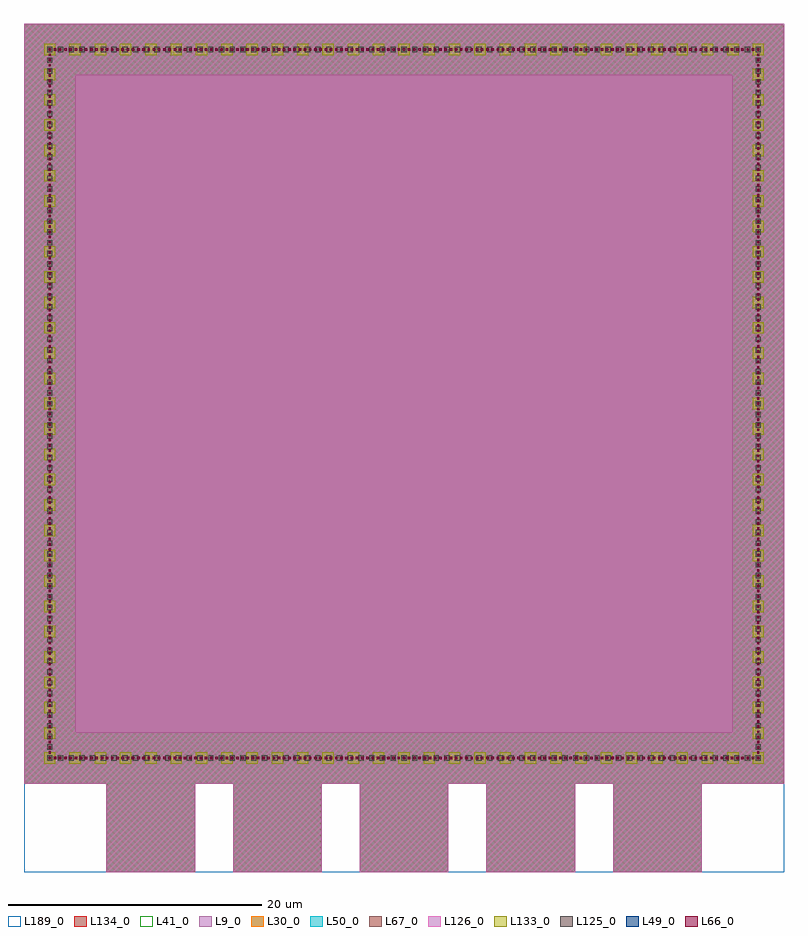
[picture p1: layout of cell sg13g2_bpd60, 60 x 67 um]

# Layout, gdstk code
import gdstk
lib = gdstk.Library(unit=1e-6, precision=1e-09)
def R(c, l, rs):  # rectangles x0, y0, x1, y1
    for r in rs: c.add(gdstk.rectangle(r[:2], r[2:], *l))
def A(c, l, x, y, w, h, nx, ny, dx, dy):  # array of equal rectangles
    R(c, l, [(x+i*dx, y+j*dy, x+i*dx+w, y+j*dy+h) for i in range(nx) for j in range(ny)])
def P(c, l, *ps):  # polygons
    for p in ps: c.add(gdstk.Polygon(p, *l))
L9_0 = (9, 0)
L30_0 = (30, 0)
L41_0 = (41, 0)
L49_0 = (49, 0)
L50_0 = (50, 0)
L66_0 = (66, 0)
L67_0 = (67, 0)
L125_0 = (125, 0)
L126_0 = (126, 0)
L133_0 = (133, 0)
L134_0 = (134, 0)
L189_0 = (189, 0)

bondpad_1 = lib.new_cell('bondpad$1')
R(bondpad_1, L9_0, [(-27.9,-27.9,27.9,27.9)])
P(bondpad_1, L30_0, [(-30,-30),(-30,30),(30,30),(30,-30),(-30,-30),(-25.93,-25.93),(25.93,-25.93),(25.93,25.93),(-25.93,25.93),(-25.93,-25.93)])
R(bondpad_1, L41_0, [(-30,-30,30,30)])
A(bondpad_1, L49_0, -28.06, -28.06, 0.19, 0.19, 4, 2, 0.41, 55.93)
A(bondpad_1, L49_0, -26.415, -28.06, 0.19, 0.19, 4, 2, 0.41, 55.93)
A(bondpad_1, L49_0, -24.77, -28.06, 0.19, 0.19, 4, 2, 0.41, 55.93)
A(bondpad_1, L49_0, -23.125, -28.06, 0.19, 0.19, 4, 2, 0.41, 55.93)
A(bondpad_1, L49_0, -21.48, -28.06, 0.19, 0.19, 4, 2, 0.41, 55.93)
A(bondpad_1, L49_0, -19.835, -28.06, 0.19, 0.19, 4, 2, 0.41, 55.93)
A(bondpad_1, L49_0, -18.19, -28.06, 0.19, 0.19, 4, 2, 0.41, 55.93)
A(bondpad_1, L49_0, -16.545, -28.06, 0.19, 0.19, 4, 2, 0.41, 55.93)
A(bondpad_1, L49_0, -14.9, -28.06, 0.19, 0.19, 4, 2, 0.41, 55.93)
A(bondpad_1, L49_0, -13.255, -28.06, 0.19, 0.19, 4, 2, 0.41, 55.93)
A(bondpad_1, L49_0, -11.61, -28.06, 0.19, 0.19, 4, 2, 0.41, 55.93)
A(bondpad_1, L49_0, -9.965, -28.06, 0.19, 0.19, 4, 2, 0.41, 55.93)
A(bondpad_1, L49_0, -8.32, -28.06, 0.19, 0.19, 4, 2, 0.41, 55.93)
A(bondpad_1, L49_0, -6.675, -28.06, 0.19, 0.19, 4, 2, 0.41, 55.93)
A(bondpad_1, L49_0, -5.03, -28.06, 0.19, 0.19, 4, 2, 0.41, 55.93)
A(bondpad_1, L49_0, -3.385, -28.06, 0.19, 0.19, 4, 2, 0.41, 55.93)
A(bondpad_1, L49_0, -1.74, -28.06, 0.19, 0.19, 4, 2, 0.41, 55.93)
A(bondpad_1, L49_0, -0.095, -28.06, 0.19, 0.19, 4, 2, 0.41, 55.93)
A(bondpad_1, L49_0, 1.55, -28.06, 0.19, 0.19, 4, 2, 0.41, 55.93)
A(bondpad_1, L49_0, 3.195, -28.06, 0.19, 0.19, 4, 2, 0.41, 55.93)
A(bondpad_1, L49_0, 4.84, -28.06, 0.19, 0.19, 4, 2, 0.41, 55.93)
A(bondpad_1, L49_0, 6.485, -28.06, 0.19, 0.19, 4, 2, 0.41, 55.93)
A(bondpad_1, L49_0, 8.13, -28.06, 0.19, 0.19, 4, 2, 0.41, 55.93)
A(bondpad_1, L49_0, 9.775, -28.06, 0.19, 0.19, 4, 2, 0.41, 55.93)
A(bondpad_1, L49_0, 11.42, -28.06, 0.19, 0.19, 4, 2, 0.41, 55.93)
A(bondpad_1, L49_0, 13.065, -28.06, 0.19, 0.19, 4, 2, 0.41, 55.93)
A(bondpad_1, L49_0, 14.71, -28.06, 0.19, 0.19, 4, 2, 0.41, 55.93)
A(bondpad_1, L49_0, 16.355, -28.06, 0.19, 0.19, 4, 2, 0.41, 55.93)
A(bondpad_1, L49_0, 18, -28.06, 0.19, 0.19, 4, 2, 0.41, 55.93)
A(bondpad_1, L49_0, 19.645, -28.06, 0.19, 0.19, 4, 2, 0.41, 55.93)
A(bondpad_1, L49_0, 21.29, -28.06, 0.19, 0.19, 4, 2, 0.41, 55.93)
A(bondpad_1, L49_0, 22.935, -28.06, 0.19, 0.19, 4, 2, 0.41, 55.93)
A(bondpad_1, L49_0, 24.58, -28.06, 0.19, 0.19, 4, 2, 0.41, 55.93)
A(bondpad_1, L49_0, 26.225, -28.06, 0.19, 0.19, 4, 2, 0.41, 55.93)
A(bondpad_1, L49_0, -28.06, -27.64, 0.19, 0.19, 1, 5, 0, 0.41)
A(bondpad_1, L49_0, 27.87, -27.64, 0.19, 0.19, 1, 5, 0, 0.41)
A(bondpad_1, L49_0, -28.06, -25.585, 0.19, 0.19, 1, 4, 0, 0.41)
A(bondpad_1, L49_0, 27.87, -25.585, 0.19, 0.19, 1, 4, 0, 0.41)
A(bondpad_1, L49_0, -28.06, -23.94, 0.19, 0.19, 1, 5, 0, 0.41)
A(bondpad_1, L49_0, 27.87, -23.94, 0.19, 0.19, 1, 5, 0, 0.41)
A(bondpad_1, L49_0, -28.06, -21.885, 0.19, 0.19, 1, 4, 0, 0.41)
A(bondpad_1, L49_0, 27.87, -21.885, 0.19, 0.19, 1, 4, 0, 0.41)
A(bondpad_1, L49_0, -28.06, -20.24, 0.19, 0.19, 1, 5, 0, 0.41)
A(bondpad_1, L49_0, 27.87, -20.24, 0.19, 0.19, 1, 5, 0, 0.41)
A(bondpad_1, L49_0, -28.06, -18.185, 0.19, 0.19, 1, 4, 0, 0.41)
A(bondpad_1, L49_0, 27.87, -18.185, 0.19, 0.19, 1, 4, 0, 0.41)
A(bondpad_1, L49_0, -28.06, -16.54, 0.19, 0.19, 1, 5, 0, 0.41)
A(bondpad_1, L49_0, 27.87, -16.54, 0.19, 0.19, 1, 5, 0, 0.41)
A(bondpad_1, L49_0, -28.06, -14.485, 0.19, 0.19, 1, 4, 0, 0.41)
A(bondpad_1, L49_0, 27.87, -14.485, 0.19, 0.19, 1, 4, 0, 0.41)
A(bondpad_1, L49_0, -28.06, -12.84, 0.19, 0.19, 1, 5, 0, 0.41)
A(bondpad_1, L49_0, 27.87, -12.84, 0.19, 0.19, 1, 5, 0, 0.41)
A(bondpad_1, L49_0, -28.06, -10.785, 0.19, 0.19, 1, 4, 0, 0.41)
A(bondpad_1, L49_0, 27.87, -10.785, 0.19, 0.19, 1, 4, 0, 0.41)
A(bondpad_1, L49_0, -28.06, -9.14, 0.19, 0.19, 1, 5, 0, 0.41)
A(bondpad_1, L49_0, 27.87, -9.14, 0.19, 0.19, 1, 5, 0, 0.41)
A(bondpad_1, L49_0, -28.06, -7.085, 0.19, 0.19, 1, 4, 0, 0.41)
A(bondpad_1, L49_0, 27.87, -7.085, 0.19, 0.19, 1, 4, 0, 0.41)
A(bondpad_1, L49_0, -28.06, -5.44, 0.19, 0.19, 1, 5, 0, 0.41)
A(bondpad_1, L49_0, 27.87, -5.44, 0.19, 0.19, 1, 5, 0, 0.41)
A(bondpad_1, L49_0, -28.06, -3.385, 0.19, 0.19, 1, 4, 0, 0.41)
A(bondpad_1, L49_0, 27.87, -3.385, 0.19, 0.19, 1, 4, 0, 0.41)
A(bondpad_1, L49_0, -28.06, -1.74, 0.19, 0.19, 1, 4, 0, 0.41)
A(bondpad_1, L49_0, 27.87, -1.74, 0.19, 0.19, 1, 4, 0, 0.41)
A(bondpad_1, L49_0, -28.06, -0.095, 0.19, 0.19, 1, 5, 0, 0.41)
A(bondpad_1, L49_0, 27.87, -0.095, 0.19, 0.19, 1, 5, 0, 0.41)
A(bondpad_1, L49_0, -28.06, 1.96, 0.19, 0.19, 1, 4, 0, 0.41)
A(bondpad_1, L49_0, 27.87, 1.96, 0.19, 0.19, 1, 4, 0, 0.41)
A(bondpad_1, L49_0, -28.06, 3.605, 0.19, 0.19, 1, 5, 0, 0.41)
A(bondpad_1, L49_0, 27.87, 3.605, 0.19, 0.19, 1, 5, 0, 0.41)
A(bondpad_1, L49_0, -28.06, 5.66, 0.19, 0.19, 1, 4, 0, 0.41)
A(bondpad_1, L49_0, 27.87, 5.66, 0.19, 0.19, 1, 4, 0, 0.41)
A(bondpad_1, L49_0, -28.06, 7.305, 0.19, 0.19, 1, 5, 0, 0.41)
A(bondpad_1, L49_0, 27.87, 7.305, 0.19, 0.19, 1, 5, 0, 0.41)
A(bondpad_1, L49_0, -28.06, 9.36, 0.19, 0.19, 1, 4, 0, 0.41)
A(bondpad_1, L49_0, 27.87, 9.36, 0.19, 0.19, 1, 4, 0, 0.41)
A(bondpad_1, L49_0, -28.06, 11.005, 0.19, 0.19, 1, 5, 0, 0.41)
A(bondpad_1, L49_0, 27.87, 11.005, 0.19, 0.19, 1, 5, 0, 0.41)
A(bondpad_1, L49_0, -28.06, 13.06, 0.19, 0.19, 1, 4, 0, 0.41)
A(bondpad_1, L49_0, 27.87, 13.06, 0.19, 0.19, 1, 4, 0, 0.41)
A(bondpad_1, L49_0, -28.06, 14.705, 0.19, 0.19, 1, 5, 0, 0.41)
A(bondpad_1, L49_0, 27.87, 14.705, 0.19, 0.19, 1, 5, 0, 0.41)
A(bondpad_1, L49_0, -28.06, 16.76, 0.19, 0.19, 1, 4, 0, 0.41)
A(bondpad_1, L49_0, 27.87, 16.76, 0.19, 0.19, 1, 4, 0, 0.41)
A(bondpad_1, L49_0, -28.06, 18.405, 0.19, 0.19, 1, 5, 0, 0.41)
A(bondpad_1, L49_0, 27.87, 18.405, 0.19, 0.19, 1, 5, 0, 0.41)
A(bondpad_1, L49_0, -28.06, 20.46, 0.19, 0.19, 1, 4, 0, 0.41)
A(bondpad_1, L49_0, 27.87, 20.46, 0.19, 0.19, 1, 4, 0, 0.41)
A(bondpad_1, L49_0, -28.06, 22.105, 0.19, 0.19, 1, 5, 0, 0.41)
A(bondpad_1, L49_0, 27.87, 22.105, 0.19, 0.19, 1, 5, 0, 0.41)
A(bondpad_1, L49_0, -28.06, 24.16, 0.19, 0.19, 1, 4, 0, 0.41)
A(bondpad_1, L49_0, 27.87, 24.16, 0.19, 0.19, 1, 4, 0, 0.41)
A(bondpad_1, L49_0, -28.06, 25.805, 0.19, 0.19, 1, 4, 0, 0.41)
A(bondpad_1, L49_0, 27.87, 25.805, 0.19, 0.19, 1, 4, 0, 0.41)
R(bondpad_1, L49_0, [(27.87,-28.06,28.06,-27.87), (-28.06,27.45,-27.87,27.64), (27.87,27.45,28.06,27.64), (27.87,27.87,28.06,28.06)])
P(bondpad_1, L50_0, [(-30,-30),(-30,30),(30,30),(30,-30),(-30,-30),(-25.93,-25.93),(25.93,-25.93),(25.93,25.93),(-25.93,25.93),(-25.93,-25.93)])
A(bondpad_1, L66_0, -28.06, -28.06, 0.19, 0.19, 4, 2, 0.41, 55.93)
A(bondpad_1, L66_0, -26.415, -28.06, 0.19, 0.19, 4, 2, 0.41, 55.93)
A(bondpad_1, L66_0, -24.77, -28.06, 0.19, 0.19, 4, 2, 0.41, 55.93)
A(bondpad_1, L66_0, -23.125, -28.06, 0.19, 0.19, 4, 2, 0.41, 55.93)
A(bondpad_1, L66_0, -21.48, -28.06, 0.19, 0.19, 4, 2, 0.41, 55.93)
A(bondpad_1, L66_0, -19.835, -28.06, 0.19, 0.19, 4, 2, 0.41, 55.93)
A(bondpad_1, L66_0, -18.19, -28.06, 0.19, 0.19, 4, 2, 0.41, 55.93)
A(bondpad_1, L66_0, -16.545, -28.06, 0.19, 0.19, 4, 2, 0.41, 55.93)
A(bondpad_1, L66_0, -14.9, -28.06, 0.19, 0.19, 4, 2, 0.41, 55.93)
A(bondpad_1, L66_0, -13.255, -28.06, 0.19, 0.19, 4, 2, 0.41, 55.93)
A(bondpad_1, L66_0, -11.61, -28.06, 0.19, 0.19, 4, 2, 0.41, 55.93)
A(bondpad_1, L66_0, -9.965, -28.06, 0.19, 0.19, 4, 2, 0.41, 55.93)
A(bondpad_1, L66_0, -8.32, -28.06, 0.19, 0.19, 4, 2, 0.41, 55.93)
A(bondpad_1, L66_0, -6.675, -28.06, 0.19, 0.19, 4, 2, 0.41, 55.93)
A(bondpad_1, L66_0, -5.03, -28.06, 0.19, 0.19, 4, 2, 0.41, 55.93)
A(bondpad_1, L66_0, -3.385, -28.06, 0.19, 0.19, 4, 2, 0.41, 55.93)
A(bondpad_1, L66_0, -1.74, -28.06, 0.19, 0.19, 4, 2, 0.41, 55.93)
A(bondpad_1, L66_0, -0.095, -28.06, 0.19, 0.19, 4, 2, 0.41, 55.93)
A(bondpad_1, L66_0, 1.55, -28.06, 0.19, 0.19, 4, 2, 0.41, 55.93)
A(bondpad_1, L66_0, 3.195, -28.06, 0.19, 0.19, 4, 2, 0.41, 55.93)
A(bondpad_1, L66_0, 4.84, -28.06, 0.19, 0.19, 4, 2, 0.41, 55.93)
A(bondpad_1, L66_0, 6.485, -28.06, 0.19, 0.19, 4, 2, 0.41, 55.93)
A(bondpad_1, L66_0, 8.13, -28.06, 0.19, 0.19, 4, 2, 0.41, 55.93)
A(bondpad_1, L66_0, 9.775, -28.06, 0.19, 0.19, 4, 2, 0.41, 55.93)
A(bondpad_1, L66_0, 11.42, -28.06, 0.19, 0.19, 4, 2, 0.41, 55.93)
A(bondpad_1, L66_0, 13.065, -28.06, 0.19, 0.19, 4, 2, 0.41, 55.93)
A(bondpad_1, L66_0, 14.71, -28.06, 0.19, 0.19, 4, 2, 0.41, 55.93)
A(bondpad_1, L66_0, 16.355, -28.06, 0.19, 0.19, 4, 2, 0.41, 55.93)
A(bondpad_1, L66_0, 18, -28.06, 0.19, 0.19, 4, 2, 0.41, 55.93)
A(bondpad_1, L66_0, 19.645, -28.06, 0.19, 0.19, 4, 2, 0.41, 55.93)
A(bondpad_1, L66_0, 21.29, -28.06, 0.19, 0.19, 4, 2, 0.41, 55.93)
A(bondpad_1, L66_0, 22.935, -28.06, 0.19, 0.19, 4, 2, 0.41, 55.93)
A(bondpad_1, L66_0, 24.58, -28.06, 0.19, 0.19, 4, 2, 0.41, 55.93)
A(bondpad_1, L66_0, 26.225, -28.06, 0.19, 0.19, 4, 2, 0.41, 55.93)
A(bondpad_1, L66_0, -28.06, -27.64, 0.19, 0.19, 1, 5, 0, 0.41)
A(bondpad_1, L66_0, 27.87, -27.64, 0.19, 0.19, 1, 5, 0, 0.41)
A(bondpad_1, L66_0, -28.06, -25.585, 0.19, 0.19, 1, 4, 0, 0.41)
A(bondpad_1, L66_0, 27.87, -25.585, 0.19, 0.19, 1, 4, 0, 0.41)
A(bondpad_1, L66_0, -28.06, -23.94, 0.19, 0.19, 1, 5, 0, 0.41)
A(bondpad_1, L66_0, 27.87, -23.94, 0.19, 0.19, 1, 5, 0, 0.41)
A(bondpad_1, L66_0, -28.06, -21.885, 0.19, 0.19, 1, 4, 0, 0.41)
A(bondpad_1, L66_0, 27.87, -21.885, 0.19, 0.19, 1, 4, 0, 0.41)
A(bondpad_1, L66_0, -28.06, -20.24, 0.19, 0.19, 1, 5, 0, 0.41)
A(bondpad_1, L66_0, 27.87, -20.24, 0.19, 0.19, 1, 5, 0, 0.41)
A(bondpad_1, L66_0, -28.06, -18.185, 0.19, 0.19, 1, 4, 0, 0.41)
A(bondpad_1, L66_0, 27.87, -18.185, 0.19, 0.19, 1, 4, 0, 0.41)
A(bondpad_1, L66_0, -28.06, -16.54, 0.19, 0.19, 1, 5, 0, 0.41)
A(bondpad_1, L66_0, 27.87, -16.54, 0.19, 0.19, 1, 5, 0, 0.41)
A(bondpad_1, L66_0, -28.06, -14.485, 0.19, 0.19, 1, 4, 0, 0.41)
A(bondpad_1, L66_0, 27.87, -14.485, 0.19, 0.19, 1, 4, 0, 0.41)
A(bondpad_1, L66_0, -28.06, -12.84, 0.19, 0.19, 1, 5, 0, 0.41)
A(bondpad_1, L66_0, 27.87, -12.84, 0.19, 0.19, 1, 5, 0, 0.41)
A(bondpad_1, L66_0, -28.06, -10.785, 0.19, 0.19, 1, 4, 0, 0.41)
A(bondpad_1, L66_0, 27.87, -10.785, 0.19, 0.19, 1, 4, 0, 0.41)
A(bondpad_1, L66_0, -28.06, -9.14, 0.19, 0.19, 1, 5, 0, 0.41)
A(bondpad_1, L66_0, 27.87, -9.14, 0.19, 0.19, 1, 5, 0, 0.41)
A(bondpad_1, L66_0, -28.06, -7.085, 0.19, 0.19, 1, 4, 0, 0.41)
A(bondpad_1, L66_0, 27.87, -7.085, 0.19, 0.19, 1, 4, 0, 0.41)
A(bondpad_1, L66_0, -28.06, -5.44, 0.19, 0.19, 1, 5, 0, 0.41)
A(bondpad_1, L66_0, 27.87, -5.44, 0.19, 0.19, 1, 5, 0, 0.41)
A(bondpad_1, L66_0, -28.06, -3.385, 0.19, 0.19, 1, 4, 0, 0.41)
A(bondpad_1, L66_0, 27.87, -3.385, 0.19, 0.19, 1, 4, 0, 0.41)
A(bondpad_1, L66_0, -28.06, -1.74, 0.19, 0.19, 1, 4, 0, 0.41)
A(bondpad_1, L66_0, 27.87, -1.74, 0.19, 0.19, 1, 4, 0, 0.41)
A(bondpad_1, L66_0, -28.06, -0.095, 0.19, 0.19, 1, 5, 0, 0.41)
A(bondpad_1, L66_0, 27.87, -0.095, 0.19, 0.19, 1, 5, 0, 0.41)
A(bondpad_1, L66_0, -28.06, 1.96, 0.19, 0.19, 1, 4, 0, 0.41)
A(bondpad_1, L66_0, 27.87, 1.96, 0.19, 0.19, 1, 4, 0, 0.41)
A(bondpad_1, L66_0, -28.06, 3.605, 0.19, 0.19, 1, 5, 0, 0.41)
A(bondpad_1, L66_0, 27.87, 3.605, 0.19, 0.19, 1, 5, 0, 0.41)
A(bondpad_1, L66_0, -28.06, 5.66, 0.19, 0.19, 1, 4, 0, 0.41)
A(bondpad_1, L66_0, 27.87, 5.66, 0.19, 0.19, 1, 4, 0, 0.41)
A(bondpad_1, L66_0, -28.06, 7.305, 0.19, 0.19, 1, 5, 0, 0.41)
A(bondpad_1, L66_0, 27.87, 7.305, 0.19, 0.19, 1, 5, 0, 0.41)
A(bondpad_1, L66_0, -28.06, 9.36, 0.19, 0.19, 1, 4, 0, 0.41)
A(bondpad_1, L66_0, 27.87, 9.36, 0.19, 0.19, 1, 4, 0, 0.41)
A(bondpad_1, L66_0, -28.06, 11.005, 0.19, 0.19, 1, 5, 0, 0.41)
A(bondpad_1, L66_0, 27.87, 11.005, 0.19, 0.19, 1, 5, 0, 0.41)
A(bondpad_1, L66_0, -28.06, 13.06, 0.19, 0.19, 1, 4, 0, 0.41)
A(bondpad_1, L66_0, 27.87, 13.06, 0.19, 0.19, 1, 4, 0, 0.41)
A(bondpad_1, L66_0, -28.06, 14.705, 0.19, 0.19, 1, 5, 0, 0.41)
A(bondpad_1, L66_0, 27.87, 14.705, 0.19, 0.19, 1, 5, 0, 0.41)
A(bondpad_1, L66_0, -28.06, 16.76, 0.19, 0.19, 1, 4, 0, 0.41)
A(bondpad_1, L66_0, 27.87, 16.76, 0.19, 0.19, 1, 4, 0, 0.41)
A(bondpad_1, L66_0, -28.06, 18.405, 0.19, 0.19, 1, 5, 0, 0.41)
A(bondpad_1, L66_0, 27.87, 18.405, 0.19, 0.19, 1, 5, 0, 0.41)
A(bondpad_1, L66_0, -28.06, 20.46, 0.19, 0.19, 1, 4, 0, 0.41)
A(bondpad_1, L66_0, 27.87, 20.46, 0.19, 0.19, 1, 4, 0, 0.41)
A(bondpad_1, L66_0, -28.06, 22.105, 0.19, 0.19, 1, 5, 0, 0.41)
A(bondpad_1, L66_0, 27.87, 22.105, 0.19, 0.19, 1, 5, 0, 0.41)
A(bondpad_1, L66_0, -28.06, 24.16, 0.19, 0.19, 1, 4, 0, 0.41)
A(bondpad_1, L66_0, 27.87, 24.16, 0.19, 0.19, 1, 4, 0, 0.41)
A(bondpad_1, L66_0, -28.06, 25.805, 0.19, 0.19, 1, 4, 0, 0.41)
A(bondpad_1, L66_0, 27.87, 25.805, 0.19, 0.19, 1, 4, 0, 0.41)
R(bondpad_1, L66_0, [(27.87,-28.06,28.06,-27.87), (-28.06,27.45,-27.87,27.64), (27.87,27.45,28.06,27.64), (27.87,27.87,28.06,28.06)])
P(bondpad_1, L67_0, [(-30,-30),(-30,30),(30,30),(30,-30),(-30,-30),(-25.93,-25.93),(25.93,-25.93),(25.93,25.93),(-25.93,25.93),(-25.93,-25.93)])
A(bondpad_1, L125_0, -28.175, -28.175, 0.42, 0.42, 3, 2, 0.845, 55.93)
A(bondpad_1, L125_0, -0.21, -28.175, 0.42, 0.42, 3, 2, 0.845, 55.93)
A(bondpad_1, L125_0, -28.175, -27.325, 0.42, 0.42, 1, 3, 0, 0.845)
A(bondpad_1, L125_0, 27.755, -27.325, 0.42, 0.42, 1, 3, 0, 0.845)
A(bondpad_1, L125_0, -28.175, -14.615, 0.42, 0.42, 1, 3, 0, 0.845)
A(bondpad_1, L125_0, 27.755, -14.615, 0.42, 0.42, 1, 3, 0, 0.845)
A(bondpad_1, L125_0, -28.175, -0.21, 0.42, 0.42, 1, 3, 0, 0.845)
A(bondpad_1, L125_0, 27.755, -0.21, 0.42, 0.42, 1, 3, 0, 0.845)
A(bondpad_1, L125_0, -28.175, 12.5, 0.42, 0.42, 1, 3, 0, 0.845)
A(bondpad_1, L125_0, 27.755, 12.5, 0.42, 0.42, 1, 3, 0, 0.845)
A(bondpad_1, L125_0, 27.755, 26.055, 0.42, 0.42, 1, 3, 0, 0.85)
R(bondpad_1, L125_0, [(-25.635,-28.175,-25.215,-27.755), (-24.79,-28.175,-24.37,-27.755), (-23.94,-28.175,-23.52,-27.755), (-23.095,-28.175,-22.675,-27.755), (-22.245,-28.175,-21.825,-27.755), (-21.4,-28.175,-20.98,-27.755), (-20.55,-28.175,-20.13,-27.755), (-19.705,-28.175,-19.285,-27.755), (-18.855,-28.175,-18.435,-27.755), (-18.01,-28.175,-17.59,-27.755), (-17.16,-28.175,-16.74,-27.755), (-16.315,-28.175,-15.895,-27.755), (-15.465,-28.175,-15.045,-27.755), (-14.62,-28.175,-14.2,-27.755), (-13.77,-28.175,-13.35,-27.755), (-12.925,-28.175,-12.505,-27.755), (-12.075,-28.175,-11.655,-27.755), (-11.23,-28.175,-10.81,-27.755), (-10.38,-28.175,-9.96,-27.755), (-9.535,-28.175,-9.115,-27.755), (-8.685,-28.175,-8.265,-27.755), (-7.84,-28.175,-7.42,-27.755), (-6.99,-28.175,-6.57,-27.755), (-6.145,-28.175,-5.725,-27.755), (-5.295,-28.175,-4.875,-27.755), (-4.45,-28.175,-4.03,-27.755), (-3.6,-28.175,-3.18,-27.755), (-2.755,-28.175,-2.335,-27.755), (-1.905,-28.175,-1.485,-27.755), (-1.06,-28.175,-0.64,-27.755), (2.33,-28.175,2.75,-27.755), (3.175,-28.175,3.595,-27.755), (4.025,-28.175,4.445,-27.755), (4.87,-28.175,5.29,-27.755), (5.72,-28.175,6.14,-27.755), (6.565,-28.175,6.985,-27.755), (7.415,-28.175,7.835,-27.755), (8.26,-28.175,8.68,-27.755), (9.11,-28.175,9.53,-27.755), (9.955,-28.175,10.375,-27.755), (10.805,-28.175,11.225,-27.755), (11.65,-28.175,12.07,-27.755), (12.5,-28.175,12.92,-27.755), (13.345,-28.175,13.765,-27.755), (14.195,-28.175,14.615,-27.755), (15.04,-28.175,15.46,-27.755), (15.89,-28.175,16.31,-27.755), (16.735,-28.175,17.155,-27.755), (17.585,-28.175,18.005,-27.755), (18.43,-28.175,18.85,-27.755), (19.28,-28.175,19.7,-27.755), (20.125,-28.175,20.545,-27.755), (20.975,-28.175,21.395,-27.755), (21.82,-28.175,22.24,-27.755), (22.67,-28.175,23.09,-27.755), (23.515,-28.175,23.935,-27.755), (24.365,-28.175,24.785,-27.755), (25.21,-28.175,25.63,-27.755), (26.06,-28.175,26.48,-27.755), (26.905,-28.175,27.325,-27.755), (27.755,-28.175,28.175,-27.755), (-28.175,-24.785,-27.755,-24.365), (27.755,-24.785,28.175,-24.365), (-28.175,-23.94,-27.755,-23.52), (27.755,-23.94,28.175,-23.52), (-28.175,-23.09,-27.755,-22.67), (27.755,-23.09,28.175,-22.67), (-28.175,-22.245,-27.755,-21.825), (27.755,-22.245,28.175,-21.825), (-28.175,-21.395,-27.755,-20.975), (27.755,-21.395,28.175,-20.975), (-28.175,-20.55,-27.755,-20.13), (27.755,-20.55,28.175,-20.13), (-28.175,-19.7,-27.755,-19.28), (27.755,-19.7,28.175,-19.28), (-28.175,-18.855,-27.755,-18.435), (27.755,-18.855,28.175,-18.435), (-28.175,-18.005,-27.755,-17.585), (27.755,-18.005,28.175,-17.585), (-28.175,-17.16,-27.755,-16.74), (27.755,-17.16,28.175,-16.74), (-28.175,-16.31,-27.755,-15.89), (27.755,-16.31,28.175,-15.89), (-28.175,-15.465,-27.755,-15.045), (27.755,-15.465,28.175,-15.045), (-28.175,-12.075,-27.755,-11.655), (27.755,-12.075,28.175,-11.655), (-28.175,-11.23,-27.755,-10.81), (27.755,-11.23,28.175,-10.81), (-28.175,-10.38,-27.755,-9.96), (27.755,-10.38,28.175,-9.96), (-28.175,-9.535,-27.755,-9.115), (27.755,-9.535,28.175,-9.115), (-28.175,-8.685,-27.755,-8.265), (27.755,-8.685,28.175,-8.265), (-28.175,-7.84,-27.755,-7.42), (27.755,-7.84,28.175,-7.42), (-28.175,-6.99,-27.755,-6.57), (27.755,-6.99,28.175,-6.57), (-28.175,-6.145,-27.755,-5.725), (27.755,-6.145,28.175,-5.725), (-28.175,-5.295,-27.755,-4.875), (27.755,-5.295,28.175,-4.875), (-28.175,-4.45,-27.755,-4.03), (27.755,-4.45,28.175,-4.03), (-28.175,-3.6,-27.755,-3.18), (27.755,-3.6,28.175,-3.18), (-28.175,-2.755,-27.755,-2.335), (27.755,-2.755,28.175,-2.335), (-28.175,-1.905,-27.755,-1.485), (27.755,-1.905,28.175,-1.485), (-28.175,-1.06,-27.755,-0.64), (27.755,-1.06,28.175,-0.64), (-28.175,2.33,-27.755,2.75), (27.755,2.33,28.175,2.75), (-28.175,3.175,-27.755,3.595), (27.755,3.175,28.175,3.595), (-28.175,4.025,-27.755,4.445), (27.755,4.025,28.175,4.445), (-28.175,4.87,-27.755,5.29), (27.755,4.87,28.175,5.29), (-28.175,5.72,-27.755,6.14), (27.755,5.72,28.175,6.14), (-28.175,6.565,-27.755,6.985), (27.755,6.565,28.175,6.985), (-28.175,7.415,-27.755,7.835), (27.755,7.415,28.175,7.835), (-28.175,8.26,-27.755,8.68), (27.755,8.26,28.175,8.68), (-28.175,9.11,-27.755,9.53), (27.755,9.11,28.175,9.53), (-28.175,9.955,-27.755,10.375), (27.755,9.955,28.175,10.375), (-28.175,10.805,-27.755,11.225), (27.755,10.805,28.175,11.225), (-28.175,11.65,-27.755,12.07), (27.755,11.65,28.175,12.07), (-28.175,15.04,-27.755,15.46), (27.755,15.04,28.175,15.46), (-28.175,15.885,-27.755,16.305), (27.755,15.885,28.175,16.305), (-28.175,16.735,-27.755,17.155), (27.755,16.735,28.175,17.155), (-28.175,17.58,-27.755,18), (27.755,17.58,28.175,18), (-28.175,18.43,-27.755,18.85), (27.755,18.43,28.175,18.85), (-28.175,19.275,-27.755,19.695), (27.755,19.275,28.175,19.695), (-28.175,20.125,-27.755,20.545), (27.755,20.125,28.175,20.545), (-28.175,20.97,-27.755,21.39), (27.755,20.97,28.175,21.39), (-28.175,21.82,-27.755,22.24), (27.755,21.82,28.175,22.24), (-28.175,22.665,-27.755,23.085), (27.755,22.665,28.175,23.085), (-28.175,23.515,-27.755,23.935), (27.755,23.515,28.175,23.935), (-28.175,24.36,-27.755,24.78), (27.755,24.36,28.175,24.78), (-28.175,25.21,-27.755,25.63), (27.755,25.21,28.175,25.63), (-28.175,26.055,-27.755,26.475), (-28.175,26.905,-27.755,27.325), (-25.635,27.755,-25.215,28.175), (-24.79,27.755,-24.37,28.175), (-23.94,27.755,-23.52,28.175), (-23.095,27.755,-22.675,28.175), (-22.245,27.755,-21.825,28.175), (-21.4,27.755,-20.98,28.175), (-20.55,27.755,-20.13,28.175), (-19.705,27.755,-19.285,28.175), (-18.855,27.755,-18.435,28.175), (-18.01,27.755,-17.59,28.175), (-17.16,27.755,-16.74,28.175), (-16.315,27.755,-15.895,28.175), (-15.465,27.755,-15.045,28.175), (-14.62,27.755,-14.2,28.175), (-13.77,27.755,-13.35,28.175), (-12.925,27.755,-12.505,28.175), (-12.075,27.755,-11.655,28.175), (-11.23,27.755,-10.81,28.175), (-10.38,27.755,-9.96,28.175), (-9.535,27.755,-9.115,28.175), (-8.685,27.755,-8.265,28.175), (-7.84,27.755,-7.42,28.175), (-6.99,27.755,-6.57,28.175), (-6.145,27.755,-5.725,28.175), (-5.295,27.755,-4.875,28.175), (-4.45,27.755,-4.03,28.175), (-3.6,27.755,-3.18,28.175), (-2.755,27.755,-2.335,28.175), (-1.905,27.755,-1.485,28.175), (-1.06,27.755,-0.64,28.175), (2.33,27.755,2.75,28.175), (3.175,27.755,3.595,28.175), (4.025,27.755,4.445,28.175), (4.87,27.755,5.29,28.175), (5.72,27.755,6.14,28.175), (6.565,27.755,6.985,28.175), (7.415,27.755,7.835,28.175), (8.26,27.755,8.68,28.175), (9.11,27.755,9.53,28.175), (9.955,27.755,10.375,28.175), (10.805,27.755,11.225,28.175), (11.65,27.755,12.07,28.175), (12.5,27.755,12.92,28.175), (13.345,27.755,13.765,28.175), (14.195,27.755,14.615,28.175), (15.04,27.755,15.46,28.175), (15.89,27.755,16.31,28.175), (16.735,27.755,17.155,28.175), (17.585,27.755,18.005,28.175), (18.43,27.755,18.85,28.175), (19.28,27.755,19.7,28.175), (20.125,27.755,20.545,28.175), (20.975,27.755,21.395,28.175), (21.82,27.755,22.24,28.175), (22.67,27.755,23.09,28.175), (23.515,27.755,23.935,28.175), (24.365,27.755,24.785,28.175), (25.21,27.755,25.63,28.175), (26.06,27.755,26.48,28.175), (26.905,27.755,27.325,28.175)])
P(bondpad_1, L126_0, [(-30,-30),(-30,30),(30,30),(30,-30),(-30,-30),(-25.93,-25.93),(25.93,-25.93),(25.93,25.93),(-25.93,25.93),(-25.93,-25.93)])
A(bondpad_1, L133_0, -28.415, -24.45, 0.9, 0.9, 1, 13, 0, 2)
A(bondpad_1, L133_0, 27.515, -24.45, 0.9, 0.9, 1, 13, 0, 2)
A(bondpad_1, L133_0, -28.415, 1.545, 0.9, 0.9, 1, 13, 0, 2)
A(bondpad_1, L133_0, 27.515, 1.545, 0.9, 0.9, 1, 13, 0, 2)
R(bondpad_1, L133_0, [(-28.415,-28.415,-27.515,-27.515), (-26.42,-28.415,-25.52,-27.515), (-24.42,-28.415,-23.52,-27.515), (-22.425,-28.415,-21.525,-27.515), (-20.425,-28.415,-19.525,-27.515), (-18.43,-28.415,-17.53,-27.515), (-16.43,-28.415,-15.53,-27.515), (-14.435,-28.415,-13.535,-27.515), (-12.435,-28.415,-11.535,-27.515), (-10.44,-28.415,-9.54,-27.515), (-8.44,-28.415,-7.54,-27.515), (-6.445,-28.415,-5.545,-27.515), (-4.445,-28.415,-3.545,-27.515), (-2.45,-28.415,-1.55,-27.515), (-0.45,-28.415,0.45,-27.515), (1.545,-28.415,2.445,-27.515), (3.545,-28.415,4.445,-27.515), (5.54,-28.415,6.44,-27.515), (7.54,-28.415,8.44,-27.515), (9.535,-28.415,10.435,-27.515), (11.535,-28.415,12.435,-27.515), (13.53,-28.415,14.43,-27.515), (15.53,-28.415,16.43,-27.515), (17.525,-28.415,18.425,-27.515), (19.525,-28.415,20.425,-27.515), (21.52,-28.415,22.42,-27.515), (23.52,-28.415,24.42,-27.515), (25.515,-28.415,26.415,-27.515), (27.515,-28.415,28.415,-27.515), (-28.415,-26.445,-27.515,-25.545), (27.515,-26.445,28.415,-25.545), (-28.415,27.515,-27.515,28.415), (-26.42,27.515,-25.52,28.415), (-24.42,27.515,-23.52,28.415), (-22.425,27.515,-21.525,28.415), (-20.425,27.515,-19.525,28.415), (-18.43,27.515,-17.53,28.415), (-16.43,27.515,-15.53,28.415), (-14.435,27.515,-13.535,28.415), (-12.435,27.515,-11.535,28.415), (-10.44,27.515,-9.54,28.415), (-8.44,27.515,-7.54,28.415), (-6.445,27.515,-5.545,28.415), (-4.445,27.515,-3.545,28.415), (-2.45,27.515,-1.55,28.415), (-0.45,27.515,0.45,28.415), (1.545,27.515,2.445,28.415), (3.545,27.515,4.445,28.415), (5.54,27.515,6.44,28.415), (7.54,27.515,8.44,28.415), (9.535,27.515,10.435,28.415), (11.535,27.515,12.435,28.415), (13.53,27.515,14.43,28.415), (15.53,27.515,16.43,28.415), (17.525,27.515,18.425,28.415), (19.525,27.515,20.425,28.415), (21.52,27.515,22.42,28.415), (23.52,27.515,24.42,28.415), (25.515,27.515,26.415,28.415), (27.515,27.515,28.415,28.415)])
R(bondpad_1, L134_0, [(-30,-30,30,30)])

sg13g2_bpd60 = lib.new_cell('sg13g2_bpd60')
A(sg13g2_bpd60, L30_0, 6.5, 0, 7, 7, 5, 1, 10, 0)
A(sg13g2_bpd60, L50_0, 6.5, 0, 7, 7, 5, 1, 10, 0)
A(sg13g2_bpd60, L67_0, 6.5, 0, 7, 7, 5, 1, 10, 0)
A(sg13g2_bpd60, L126_0, 6.5, 0, 7, 7, 5, 1, 10, 0)
A(sg13g2_bpd60, L134_0, 6.5, 0, 7, 7, 5, 1, 10, 0)
R(sg13g2_bpd60, L189_0, [(0,0,60,67)])
sg13g2_bpd60.add(gdstk.Reference(bondpad_1, (30,37)))

lib.write_gds('sg13g2_bpd60.gds')
